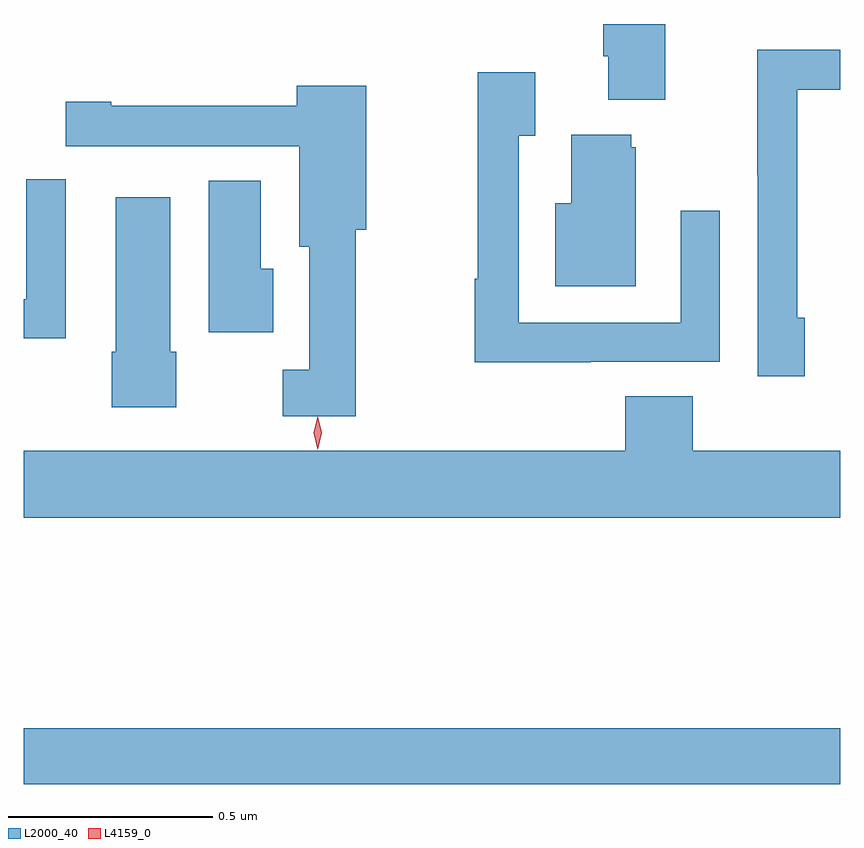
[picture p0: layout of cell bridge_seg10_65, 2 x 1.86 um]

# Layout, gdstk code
import gdstk
lib = gdstk.Library(unit=1e-6, precision=1e-09)
def R(c, l, rs):  # rectangles x0, y0, x1, y1
    for r in rs: c.add(gdstk.rectangle(r[:2], r[2:], *l))
def P(c, l, *ps):  # polygons
    for p in ps: c.add(gdstk.Polygon(p, *l))
L2000_40 = (2000, 40)
L4159_0 = (4159, 0)

bridge_seg10_65 = lib.new_cell('bridge_seg10_65')
R(bridge_seg10_65, L2000_40, [(809.816,1293.004,811.816,1293.14)])
P(bridge_seg10_65, L2000_40, [(811.387,1294.865),(811.235,1294.865),(811.235,1294.786),(811.247,1294.786),(811.247,1294.679),(811.387,1294.679)],
  [(811.729,1294.146),(811.71,1294.146),(811.71,1294.704),(811.816,1294.704),(811.816,1294.802),(811.612,1294.802),(811.612,1294.495),(811.614,1294.495),(811.614,1294.002),(811.729,1294.002)],
  [(811.205,1294.038),(811.521,1294.038),(811.521,1294.408),(811.425,1294.408),(811.425,1294.134),(811.029,1294.134),(811.029,1294.591),(811.069,1294.591),(811.069,1294.747),(810.928,1294.747),(810.928,1294.241),(810.921,1294.241),(810.921,1294.037),(811.205,1294.037)],
  [(810.629,1294.361),(810.655,1294.361),(810.655,1294.714),(810.485,1294.714),(810.485,1294.665),(810.031,1294.665),(810.031,1294.675),(809.919,1294.675),(809.919,1294.566),(810.491,1294.566),(810.491,1294.32),(810.515,1294.32),(810.515,1294.018),(810.45,1294.018),(810.45,1293.905),(810.629,1293.905)],
  [(811.315,1294.563),(811.304,1294.563),(811.304,1294.594),(811.157,1294.594),(811.157,1294.426),(811.118,1294.426),(811.118,1294.223),(811.315,1294.223)],
  [(809.919,1294.485),(809.823,1294.485),(809.823,1294.191),(809.816,1294.191),(809.816,1294.095),(809.919,1294.095)],
  [(810.427,1294.266),(810.397,1294.266),(810.397,1294.481),(810.269,1294.481),(810.269,1294.11),(810.427,1294.11)],
  [(810.19,1294.062),(810.175,1294.062),(810.175,1294.441),(810.041,1294.441),(810.041,1294.062),(810.032,1294.062),(810.032,1293.926),(810.19,1293.926)],
  [(811.816,1293.82),(811.454,1293.82),(811.454,1293.953),(811.289,1293.953),(811.289,1293.82),(809.816,1293.82),(809.816,1293.656),(811.816,1293.656)])
P(bridge_seg10_65, L4159_0, [(810.536,1293.823),(810.536,1293.823),(810.526,1293.864),(810.536,1293.905),(810.536,1293.905),(810.536,1293.905),(810.546,1293.864),(810.536,1293.823)])

lib.write_gds('bridge_seg10_65.gds')
